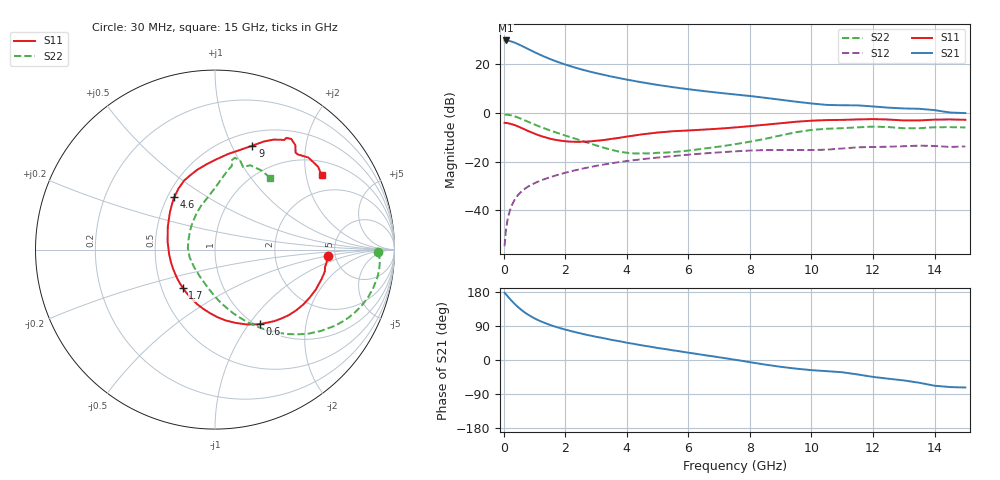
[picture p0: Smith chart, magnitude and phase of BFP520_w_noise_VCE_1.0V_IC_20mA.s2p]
! Infineon Technologies  Discrete & RF Semiconductors
! BFP520
! VCE =  1.0 V,  IC =  20 mA
! Common Emitter S-Parameters:  Oct 2015
# GHz  S  MA  R  50
!  f  S11  S21  S12  S22
! GHz  MAG  ANG  MAG  ANG  MAG  ANG  MAG  ANG
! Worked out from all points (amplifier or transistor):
!   109 points, 30 MHz to 15 GHz, reference 50 ohm
!   highest |S21| = 29.9 dB at 70 MHz (marker M1)
!   |S21| within 3 dB of that: start of sweep to 709.6 MHz
!   unconditionally stable (mu >= 1): 2.604 GHz to end of sweep
!   at 450 MHz: K = 0.36, MSG = 31.3 dB, |S12| = -34.1 dB
!   at 4 GHz: K = 1.12, MAG = 14.7 dB, |S12| = -19.8 dB
!   at 15 GHz: K = 1.27, MAG = 3.8 dB, |S12| = -13.8 dB
!   lowest NFmin = 2.00 dB at 900 MHz
!   S11 on the Smith chart (normalised r, x): 30 MHz: 4.32, -0.50; 600 MHz: 1.04, -1.13; 1.7 GHz: 0.64, -0.30; 4.6 GHz: 0.54, +0.37; 9 GHz: 0.65, +1.20; 15 GHz: 1.41, +2.46
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0.03  0.628 -3.2  31.28 177.5  0.0018 96.2  0.9088 -0.8
0.07  0.623 -7.8  31.3 173.5  0.0037 90.1  0.9198 -3.8
0.2  0.6041 -21.7  30.36 161.5  0.0096 80.8  0.9073 -13.6
0.25  0.5914 -26.9  29.77 157.0  0.0119 79.0  0.8937 -17.2
0.35  0.5648 -36.8  28.3 148.6  0.016 75.0  0.8569 -23.8
0.45  0.5335 -46.0  26.6 140.8  0.0198 71.6  0.8138 -29.7
0.6  0.4853 -58.9  24.01 130.6  0.0249 67.6  0.7442 -37.5
0.8  0.4247 -74.2  20.73 119.2  0.0306 63.7  0.6565 -46.0
1  0.3765 -88.0  17.99 110.0  0.0357 61.1  0.5805 -52.9
1.1  0.3553 -94.5  16.78 106.0  0.0381 60.1  0.5472 -55.9
1.4  0.309 -112.8  13.83 95.8  0.045 57.6  0.4624 -63.8
1.7  0.2785 -130.0  11.64 87.4  0.0518 55.5  0.397 -70.7
2.2  0.2568 -155.9  9.103 76.0  0.0631 52.2  0.3132 -81.3
2.6  0.2567 -174.3  7.699 68.2  0.0722 49.2  0.26 -90.3
3.5  0.2929 153.8  5.649 53.1  0.0921 41.6  0.1746 -117.8
4.6  0.3699 127.7  4.178 37.2  0.1135 31.6  0.1471 -167.3
5.1  0.401 119.4  3.715 30.6  0.1224 27.2  0.1517 173.1
7.6  0.5092 87.7  2.381 -0.4  0.1632 4.0  0.2322 114.9
9  0.6156 70.2  1.876 -18.0  0.1728 -10.5  0.3456 89.8
10.5  0.7154 58.8  1.469 -29.5  0.1757 -18.9  0.4735 78.7
13  0.7026 50.3  1.241 -53.9  0.2067 -39.8  0.486 71.2
15  0.7244 34.9  0.996 -72.6  0.2046 -56.0  0.5043 52.4
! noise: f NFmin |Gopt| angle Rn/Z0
0.45  2.01  0.16  1  0.27
0.9  2  0.12  1  0.3
1.9  2.2  0.1  -2  0.28
2.4  2.2  0.08  -6  0.28
3.5  2.15  0.04  -30  0.29
